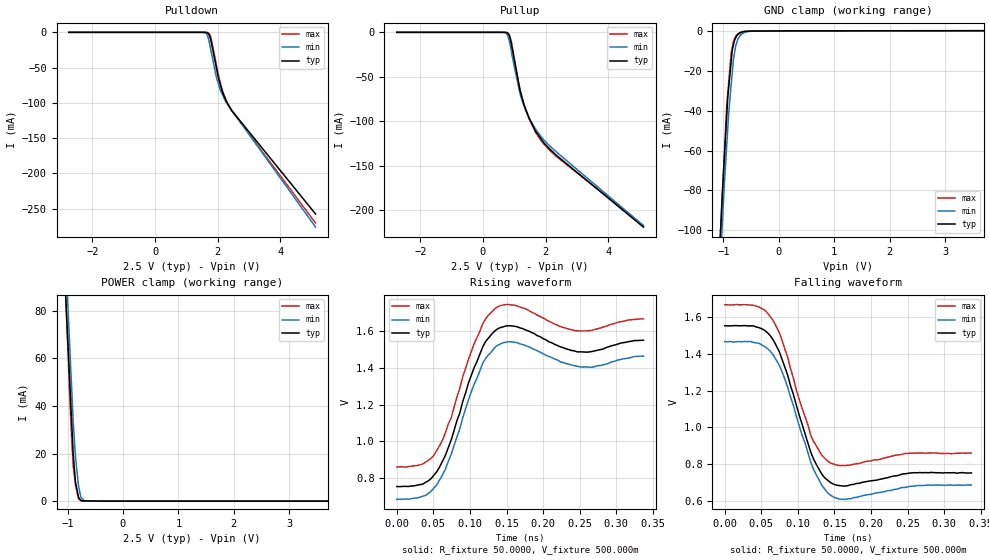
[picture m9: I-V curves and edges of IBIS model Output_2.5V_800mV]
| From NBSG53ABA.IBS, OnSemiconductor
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[Model] Output_2.5V_800mV
Model_type Output_ECL
Vref=0.50000V
Rref=50.0000ohms
Cref=0.00000pF
Vmeas=1.15000V
C_comp 500.0fF 500.0fF 500.0fF
[Model Spec]
Vmeas 1.1533045   1.075586   1.2630495
|Vref  0.50000V  0.3750V  0.6250V
|Rref  50ohms   50ohms   50ohms
|Cref  0.00pF   0.00pF   0.00pF
| variable typ   min   max
[Voltage Range]   2.50000V  2.37500V  2.62500V
[POWER Clamp Reference] 2.50000V  2.37500V  2.62500V
[Pullup Reference]   2.50000V  2.37500V  2.62500V
[Pulldown Reference]   2.50000V  2.37500V  2.62500V
[GND Clamp Reference]   0.00000V  0.00000V  0.00000V
[Temperature Range]  25   85   0
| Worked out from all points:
|   GND clamp passes 1 mA (typ) near -0.69 V on its own axis
|   POWER clamp passes 1 mA (typ) near -0.78 V on its own axis
|   falling waveform, R_fixture 50.0000, V_fixture 500.000m: 20-80 % time 37.5ps typ, 37.8ps min, 37.5ps max; typ from 1.55 V to 0.754 V
|   rising waveform, R_fixture 50.0000, V_fixture 500.000m: 20-80 % time 39.7ps typ, 40ps min, 39.4ps max; typ from 0.756 V to 1.55 V
[GND Clamp]
-2.5V     -951.2mA   -900.6mA   -924.6mA
-1.023V   -83.45mA   -98.42mA   -84.05mA
-982.5mV  -63.35mA   -76.39mA   -60.96mA
-942mV    -43.26mA   -58.15mA   -37.89mA
-921.8mV  -33.22mA   -49.04mA   -31.19mA
-901.4mV  -27.3mA    -39.9mA    -24.47mA
-861.1mV  -15.53mA   -27.25mA   -11.14mA
-841mV    -9.677mA   -20.96mA   -8.233mA
-820.9mV  -7.222mA   -14.63mA   -5.313mA
-780.5mV  -3.632mA   -7.756mA   -2.645mA
-679.2mV  -828.6uA   -1.919mA   -548.7uA
5V        51.31uA    169.4uA    52.08uA
[Pulldown]
-2.75V    35.31uA    39.24uA    30.95uA
1.635V    -225.5uA   -1.603mA   -57.41uA
1.716V    -2.737mA   -10.47mA   -1.307mA
1.764V    -8.224mA   -20.96mA   -4.697mA
1.804V    -16.09mA   -29.86mA   -11.24mA
1.954V    -49.45mA   -62.85mA   -45.09mA
2.019V    -63.76mA   -72.25mA   -59.62mA
2.096V    -76.17mA   -83.53mA   -72.93mA
2.163V    -85.78mA   -89.63mA   -84.42mA
2.285V    -98.27mA   -100.3mA   -97.68mA
2.438V    -110.3mA   -109.8mA   -110.3mA
5.125V    -257.5mA   -276.2mA   -270.4mA
[Pullup]
-2.75V    20.84uA    20.93uA    22.12uA
659mV     -16.7uA    -102.5uA   -12.38uA
800.6mV   -1.128mA   -4.366mA   -874.8uA
840.7mV   -3.426mA   -9.501mA   -2.689mA
901.3mV   -11.7mA    -20.22mA   -9.686mA
1.179V    -64.84mA   -68.35mA   -63.41mA
1.24V     -72.49mA   -75.87mA   -72.42mA
1.321V    -82.61mA   -83.62mA   -82.41mA
1.477V    -96.97mA   -96.42mA   -97.34mA
1.801V    -117.3mA   -114.6mA   -119mA
2.338V    -138.1mA   -134.4mA   -139.5mA
5.125V    -219.2mA   -217.5mA   -217.4mA
[POWER Clamp]
-2.75V    922.9mA    971.3mA    1.087A
-1.061V   98.69mA    115.3mA    101.6mA
-1.02V    78.98mA    94.82mA    78.05mA
-959.7mV  49.47mA    64.16mA    42.77mA
-919.2mV  29.71mA    43.64mA    22.54mA
-898.7mV  19.71mA    33.25mA    14.83mA
-858.6mV  8.143mA    18.89mA    6.834mA
-803.3mV  1.593mA    6.43mA     1.023mA
-763mV    386.1uA    1.796mA    174.8uA
-702.1mV  127.4uA    230.5uA    15.66uA
-580.5mV  80.61uA    4.065uA    9.979uA
5.125V    0A         0A         0A
[Falling Waveform]
R_fixture = 50.0000
V_fixture = 500.000m
V_fixture_min = 375.000m
V_fixture_max = 625.000m
0s        1.551V     1.465V     1.665V
43.1ps    1.544V     1.458V     1.657V
66.6ps    1.472V     1.39V      1.576V
82.3ps    1.326V     1.26V      1.423V
117.6ps   866.2mV    813.4mV    958mV
133.3ps   743.2mV    683.3mV    846.9mV
145ps     700.3mV    632.4mV    806.1mV
164.6ps   682.2mV    611.1mV    793.6mV
254.8ps   753.8mV    681.5mV    861.2mV
337.1ps   754mV      688.1mV    860.8mV
[Rising Waveform]
R_fixture = 50.0000
V_fixture = 500.000m
V_fixture_min = 375.000m
V_fixture_max = 625.000m
0s        755.7mV    686.3mV    861mV
35.3ps    768.5mV    702.8mV    877.6mV
54.9ps    837.4mV    766.5mV    953.5mV
74.5ps    1.01V      931.3mV    1.129V
105.8ps   1.401V     1.311V     1.532V
121.5ps   1.543V     1.451V     1.665V
137.2ps   1.609V     1.52V      1.729V
164.6ps   1.622V     1.535V     1.735V
243ps     1.49V      1.411V     1.601V
337.1ps   1.549V     1.463V     1.665V
[Ramp]
| variable typ min max
dV/dt_r 476.341m/39.6335p 466.499m/40.1408p 483.565m/40.1615p
dV/dt_f 476.341m/37.2065p 466.499m/38.3371p 483.565m/37.9071p
R_load = 50.0000Ohms
